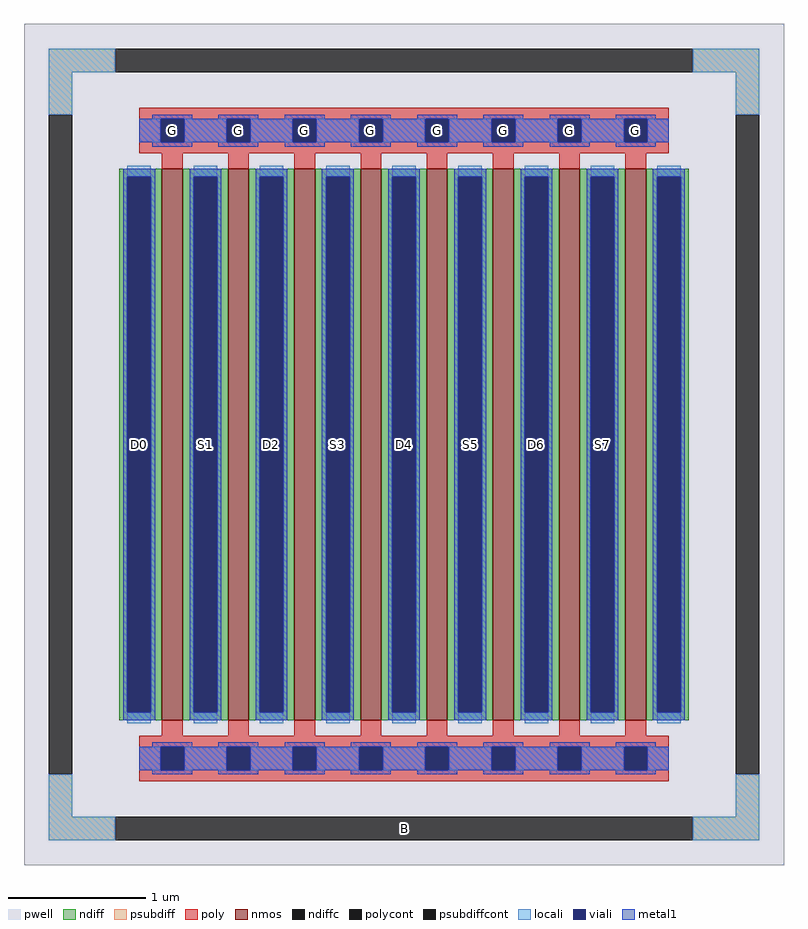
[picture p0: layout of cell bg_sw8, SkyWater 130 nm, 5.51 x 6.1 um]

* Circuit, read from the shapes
.subckt bg_sw8 B D0 G S1 D2 S3 D4 S5 D6 S7
XM1 S1 G D0 B sky130_fd_pr__nfet_01v8 w=4 l=0.15
XM2 D2 G S1 B sky130_fd_pr__nfet_01v8 w=4 l=0.15
XM3 S3 G D2 B sky130_fd_pr__nfet_01v8 w=4 l=0.15
XM4 D4 G S3 B sky130_fd_pr__nfet_01v8 w=4 l=0.15
XM5 S5 G D4 B sky130_fd_pr__nfet_01v8 w=4 l=0.15
XM6 D6 G S5 B sky130_fd_pr__nfet_01v8 w=4 l=0.15
XM7 S7 G D6 B sky130_fd_pr__nfet_01v8 w=4 l=0.15
XM8 n1 G S7 B sky130_fd_pr__nfet_01v8 w=4 l=0.15
.ends

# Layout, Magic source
magic
tech sky130A
magscale 1 2
<< pwell >>
rect -551 -610 551 610
<< nmos >>
rect -351 -400 -321 400
rect -255 -400 -225 400
rect -159 -400 -129 400
rect -63 -400 -33 400
rect 33 -400 63 400
rect 129 -400 159 400
rect 225 -400 255 400
rect 321 -400 351 400
<< ndiff >>
rect -413 388 -351 400
rect -413 -388 -401 388
rect -367 -388 -351 388
rect -413 -400 -351 -388
rect -321 388 -255 400
rect -321 -388 -305 388
rect -271 -388 -255 388
rect -321 -400 -255 -388
rect -225 388 -159 400
rect -225 -388 -209 388
rect -175 -388 -159 388
rect -225 -400 -159 -388
rect -129 388 -63 400
rect -129 -388 -113 388
rect -79 -388 -63 388
rect -129 -400 -63 -388
rect -33 388 33 400
rect -33 -388 -17 388
rect 17 -388 33 388
rect -33 -400 33 -388
rect 63 388 129 400
rect 63 -388 79 388
rect 113 -388 129 388
rect 63 -400 129 -388
rect 159 388 225 400
rect 159 -388 175 388
rect 209 -388 225 388
rect 159 -400 225 -388
rect 255 388 321 400
rect 255 -388 271 388
rect 305 -388 321 388
rect 255 -400 321 -388
rect 351 388 413 400
rect 351 -388 367 388
rect 401 -388 413 388
rect 351 -400 413 -388
<< ndiffc >>
rect -401 -388 -367 388
rect -305 -388 -271 388
rect -209 -388 -175 388
rect -113 -388 -79 388
rect -17 -388 17 388
rect 79 -388 113 388
rect 175 -388 209 388
rect 271 -388 305 388
rect 367 -388 401 388
<< psubdiff >>
rect -515 540 -419 574
rect 419 540 515 574
rect -515 478 -481 540
rect 481 478 515 540
rect -515 -540 -481 -478
rect 481 -540 515 -478
rect -515 -574 -419 -540
rect 419 -574 515 -540
<< psubdiffcont >>
rect -419 540 419 574
rect -515 -478 -481 478
rect 481 -478 515 478
rect -419 -574 419 -540
<< poly >>
rect -384 472 384 488
rect -384 438 -353 472
rect -319 438 -257 472
rect -223 438 -161 472
rect -127 438 -65 472
rect -31 438 31 472
rect 65 438 127 472
rect 161 438 223 472
rect 257 438 319 472
rect 353 438 384 472
rect -384 422 384 438
rect -351 400 -321 422
rect -255 400 -225 422
rect -159 400 -129 422
rect -63 400 -33 422
rect 33 400 63 422
rect 129 400 159 422
rect 225 400 255 422
rect 321 400 351 422
rect -351 -422 -321 -400
rect -255 -422 -225 -400
rect -159 -422 -129 -400
rect -63 -422 -33 -400
rect 33 -422 63 -400
rect 129 -422 159 -400
rect 225 -422 255 -400
rect 321 -422 351 -400
rect -384 -438 384 -422
rect -384 -472 -353 -438
rect -319 -472 -257 -438
rect -223 -472 -161 -438
rect -127 -472 -65 -438
rect -31 -472 31 -438
rect 65 -472 127 -438
rect 161 -472 223 -438
rect 257 -472 319 -438
rect 353 -472 384 -438
rect -384 -488 384 -472
<< polycont >>
rect -353 438 -319 472
rect -257 438 -223 472
rect -161 438 -127 472
rect -65 438 -31 472
rect 31 438 65 472
rect 127 438 161 472
rect 223 438 257 472
rect 319 438 353 472
rect -353 -472 -319 -438
rect -257 -472 -223 -438
rect -161 -472 -127 -438
rect -65 -472 -31 -438
rect 31 -472 65 -438
rect 127 -472 161 -438
rect 223 -472 257 -438
rect 319 -472 353 -438
<< locali >>
rect -515 540 -419 574
rect 419 540 515 574
rect -515 478 -481 540
rect 481 478 515 540
rect -384 438 -353 472
rect -319 438 -257 472
rect -223 438 -161 472
rect -127 438 -65 472
rect -31 438 31 472
rect 65 438 127 472
rect 161 438 223 472
rect 257 438 319 472
rect 353 438 384 472
rect -401 388 -367 404
rect -401 -404 -367 -388
rect -305 388 -271 404
rect -305 -404 -271 -388
rect -209 388 -175 404
rect -209 -404 -175 -388
rect -113 388 -79 404
rect -113 -404 -79 -388
rect -17 388 17 404
rect -17 -404 17 -388
rect 79 388 113 404
rect 79 -404 113 -388
rect 175 388 209 404
rect 175 -404 209 -388
rect 271 388 305 404
rect 271 -404 305 -388
rect 367 388 401 404
rect 367 -404 401 -388
rect -384 -472 -353 -438
rect -319 -472 -257 -438
rect -223 -472 -161 -438
rect -127 -472 -65 -438
rect -31 -472 31 -438
rect 65 -472 127 -438
rect 161 -472 223 -438
rect 257 -472 319 -438
rect 353 -472 384 -438
rect -515 -540 -481 -478
rect 481 -540 515 -478
rect -515 -574 -419 -540
rect 419 -574 515 -540
<< viali >>
rect -353 438 -319 472
rect -257 438 -223 472
rect -161 438 -127 472
rect -65 438 -31 472
rect 31 438 65 472
rect 127 438 161 472
rect 223 438 257 472
rect 319 438 353 472
rect -401 -388 -367 388
rect -305 -388 -271 388
rect -209 -388 -175 388
rect -113 -388 -79 388
rect -17 -388 17 388
rect 79 -388 113 388
rect 175 -388 209 388
rect 271 -388 305 388
rect 367 -388 401 388
rect -353 -472 -319 -438
rect -257 -472 -223 -438
rect -161 -472 -127 -438
rect -65 -472 -31 -438
rect 31 -472 65 -438
rect 127 -472 161 -438
rect 223 -472 257 -438
rect 319 -472 353 -438
<< metal1 >>
rect -365 472 -307 478
rect -269 472 -211 478
rect -173 472 -115 478
rect -77 472 -19 478
rect 19 472 77 478
rect 115 472 173 478
rect 211 472 269 478
rect 307 472 365 478
rect -384 438 -353 472
rect -319 438 -257 472
rect -223 438 -161 472
rect -127 438 -65 472
rect -31 438 31 472
rect 65 438 127 472
rect 161 438 223 472
rect 257 438 319 472
rect 353 438 384 472
rect -365 432 -307 438
rect -269 432 -211 438
rect -173 432 -115 438
rect -77 432 -19 438
rect 19 432 77 438
rect 115 432 173 438
rect 211 432 269 438
rect 307 432 365 438
rect -407 388 -361 400
rect -407 -388 -401 388
rect -367 -388 -361 388
rect -407 -400 -361 -388
rect -311 388 -265 400
rect -311 -388 -305 388
rect -271 -388 -265 388
rect -311 -400 -265 -388
rect -215 388 -169 400
rect -215 -388 -209 388
rect -175 -388 -169 388
rect -215 -400 -169 -388
rect -119 388 -73 400
rect -119 -388 -113 388
rect -79 -388 -73 388
rect -119 -400 -73 -388
rect -23 388 23 400
rect -23 -388 -17 388
rect 17 -388 23 388
rect -23 -400 23 -388
rect 73 388 119 400
rect 73 -388 79 388
rect 113 -388 119 388
rect 73 -400 119 -388
rect 169 388 215 400
rect 169 -388 175 388
rect 209 -388 215 388
rect 169 -400 215 -388
rect 265 388 311 400
rect 265 -388 271 388
rect 305 -388 311 388
rect 265 -400 311 -388
rect 361 388 407 400
rect 361 -388 367 388
rect 401 -388 407 388
rect 361 -400 407 -388
rect -365 -438 -307 -432
rect -269 -438 -211 -432
rect -173 -438 -115 -432
rect -77 -438 -19 -432
rect 19 -438 77 -432
rect 115 -438 173 -432
rect 211 -438 269 -432
rect 307 -438 365 -432
rect -384 -472 -353 -438
rect -319 -472 -257 -438
rect -223 -472 -161 -438
rect -127 -472 -65 -438
rect -31 -472 31 -438
rect 65 -472 127 -438
rect 161 -472 223 -438
rect 257 -472 319 -438
rect 353 -472 384 -438
rect -365 -478 -307 -472
rect -269 -478 -211 -472
rect -173 -478 -115 -472
rect -77 -478 -19 -472
rect 19 -478 77 -472
rect 115 -478 173 -472
rect 211 -478 269 -472
rect 307 -478 365 -472
<< labels >>
rlabel psubdiffcont 0 -557 0 -557 0 B
port 1 nsew
rlabel ndiffc -384 0 -384 0 0 D0
port 2 nsew
rlabel polycont -336 455 -336 455 0 G
port 3 nsew
rlabel ndiffc -288 0 -288 0 0 S1
port 4 nsew
rlabel polycont -240 455 -240 455 0 G
port 3 nsew
rlabel ndiffc -192 0 -192 0 0 D2
port 5 nsew
rlabel polycont -144 455 -144 455 0 G
port 3 nsew
rlabel ndiffc -96 0 -96 0 0 S3
port 6 nsew
rlabel polycont -48 455 -48 455 0 G
port 3 nsew
rlabel ndiffc 0 0 0 0 0 D4
port 7 nsew
rlabel polycont 48 455 48 455 0 G
port 3 nsew
rlabel ndiffc 96 0 96 0 0 S5
port 8 nsew
rlabel polycont 144 455 144 455 0 G
port 3 nsew
rlabel ndiffc 192 0 192 0 0 D6
port 9 nsew
rlabel polycont 240 455 240 455 0 G
port 3 nsew
rlabel ndiffc 288 0 288 0 0 S7
port 10 nsew
rlabel polycont 336 455 336 455 0 G
port 3 nsew
<< properties >>
string FIXED_BBOX -498 -557 498 557
<< end >>
